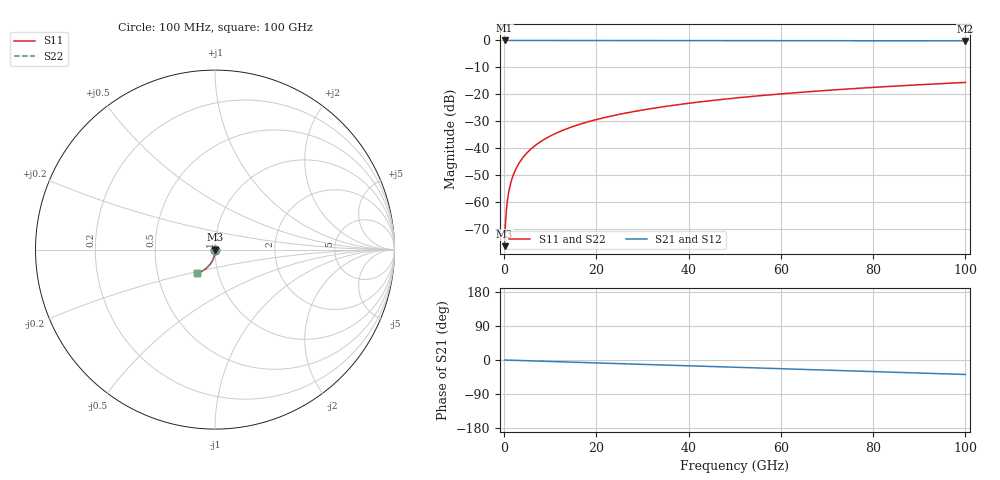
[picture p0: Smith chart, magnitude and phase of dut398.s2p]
! Touchstone file exported from HFSS 2026.1.0
!  File:  C:/ffzhzh/LocalFiles/Ansys_Project_Files/temp_train_TSV_398_1783510805_44152.aedt
!  Generated:  07:41:07 PM Jul  8, 2026
!  Design:  TSV
!  Project:  temp_train_TSV_398_1783510805_44152
! Variables:
!  h_bsmrdl = 2um
!  h_ox = 20um
!  h_rdl = 5um
!  h_sub = 75.43um
!  h_tmrdl = 5um
!  h_tsv = 75.43um
!  h_via = 3um
!  l_bsmrdl = 300um
!  l_sub = 427.6um
!  l_tmrdl = 200um
!  m_sub = 200um
!  pitch = 43.74um
!  r_tsv = 13.8um
!  s_tmrdl = 10um
!  w_bsmrdl = 18um
!  w_sub = 500um
!  w_tmrdl = 12um
!  x_tsv_center1 = 206um
!  x_tsv_center2 = 524um
!  x_tsv_center3 = 736um
!  x_tsv_center4 = 1054um
!  x_tsv_center5 = 1266um
!  x_tsv_center6 = 1584um
# GHz S MA R 50.000000
! Terminal data exported
! Port[1] = TSV1_1_T1
! Port[2] = TSV1_1_T2
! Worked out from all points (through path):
!   1000 points, 100 MHz to 100 GHz, reference 50 ohm
!   highest |S21| = 0.00 dB at 100 MHz (marker M1); lowest = -0.1 dB at 100 GHz (marker M2)
!   group delay of S21, straight-line fit = 1.06 ps
!   lowest |S11| = -76.4 dB at 100 MHz (marker M3), VSWR 1.00, Z = 50 - j0.0128 ohm
!   |S11| at or under -10 dB: start of sweep to end of sweep
!   |S22| runs from -76.4 to -15.6 dB; largest |S21 - S12| = 2.1e-15
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0.1  0.0001507 -58.2  0.9999 -0.0  0.9999 -0.0  0.0001507 -58.2
! Gamma 0 0 0 0
! Port Impedance 50 0 50 0
0.4  0.0005686 -76.1  0.9999 -0.2  0.9999 -0.2  0.0005686 -76.1
0.7  0.001045 -79.5  0.9998 -0.3  0.9998 -0.3  0.001045 -79.5
0.8  0.001208 -80.3  0.9998 -0.3  0.9998 -0.3  0.001208 -80.3
1  0.001536 -81.6  0.9998 -0.4  0.9998 -0.4  0.001536 -81.6
1.3  0.002029 -83.0  0.9997 -0.5  0.9997 -0.5  0.002029 -83.0
1.7  0.002689 -84.3  0.9997 -0.7  0.9997 -0.7  0.002689 -84.3
2.3  0.003685 -85.5  0.9996 -0.9  0.9996 -0.9  0.003685 -85.5
2.9  0.004688 -86.3  0.9996 -1.1  0.9996 -1.1  0.004688 -86.3
3.7  0.006035 -87.2  0.9995 -1.4  0.9995 -1.4  0.006035 -87.2
4.7  0.007728 -88.1  0.9995 -1.8  0.9995 -1.8  0.007728 -88.1
5.8  0.009597 -88.9  0.9994 -2.2  0.9994 -2.2  0.009597 -88.9
8.6  0.01437 -90.6  0.9992 -3.3  0.9992 -3.3  0.01437 -90.6
12.2  0.02053 -92.4  0.999 -4.7  0.999 -4.7  0.02053 -92.4
16.8  0.02842 -94.5  0.9986 -6.5  0.9986 -6.5  0.02842 -94.5
24.2  0.0411 -97.7  0.998 -9.3  0.998 -9.3  0.0411 -97.7
33.4  0.05682 -101.4  0.997 -12.8  0.997 -12.8  0.05682 -101.4
41.2  0.07008 -104.6  0.996 -15.8  0.996 -15.8  0.07008 -104.6
50.1  0.08511 -108.1  0.9946 -19.2  0.9946 -19.2  0.08511 -108.1
66.7  0.1127 -114.6  0.9916 -25.5  0.9916 -25.5  0.1127 -114.6
83.4  0.1398 -121.1  0.9878 -31.9  0.9878 -31.9  0.1398 -121.1
100  0.166 -127.5  0.9833 -38.2  0.9833 -38.2  0.166 -127.5
